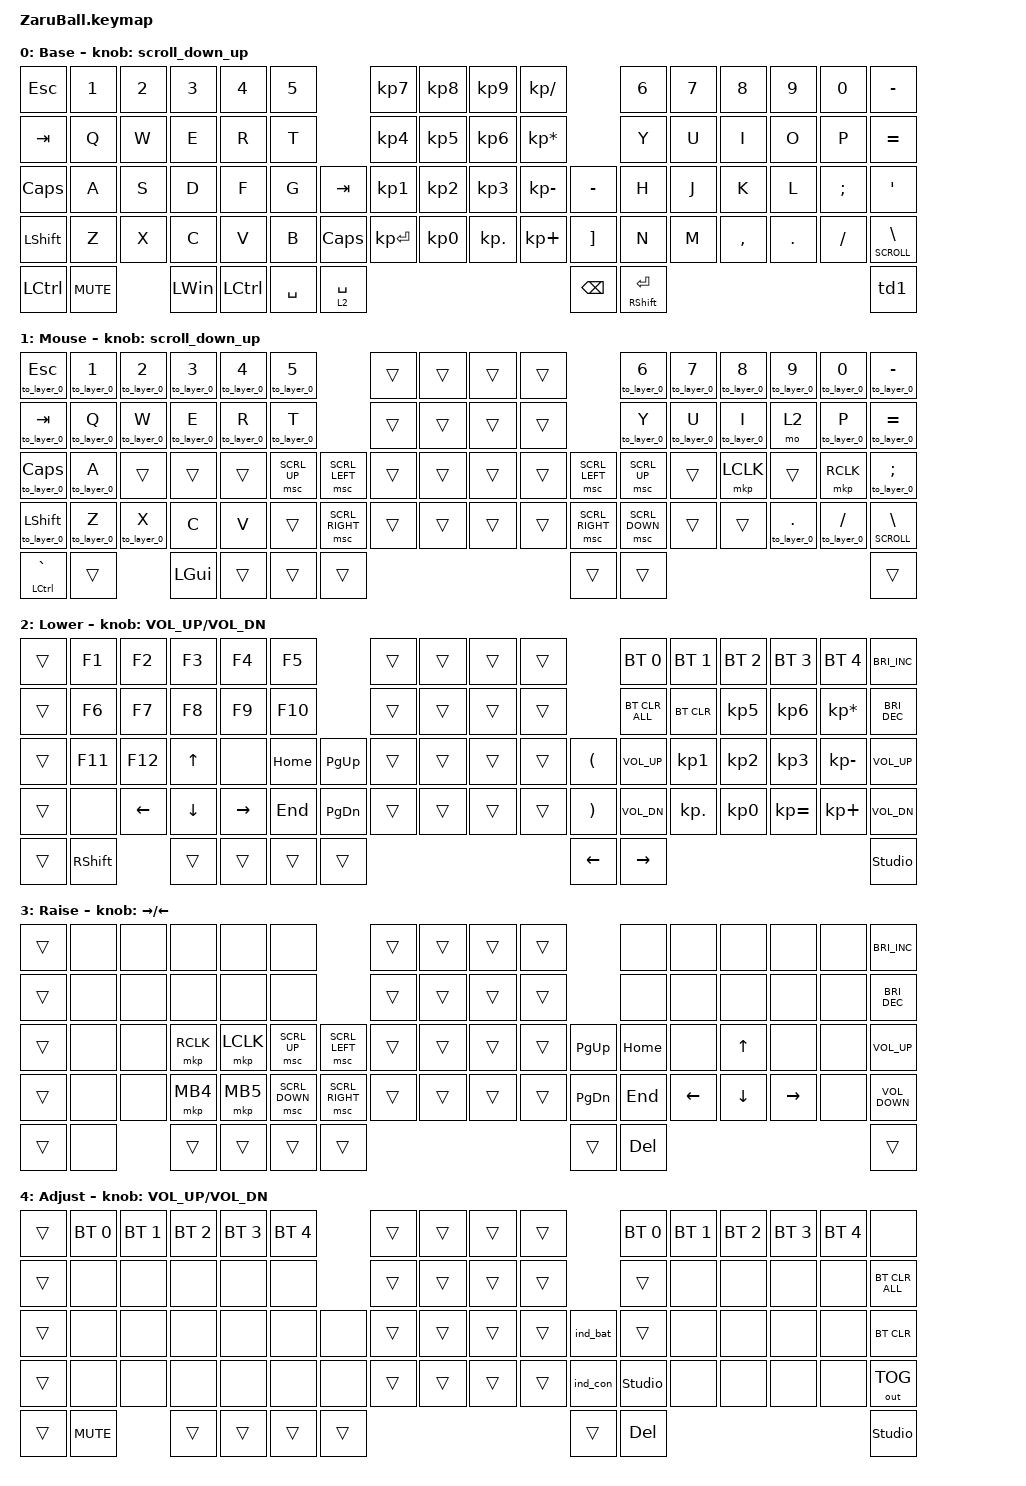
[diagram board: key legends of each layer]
//#include <dt-bindings/zmk/mouse.h>

#include <behaviors/rgbled_widget.dtsi>
#include <behaviors/naginata.dtsi>
#include <behaviors.dtsi>
#include <dt-bindings/zmk/bt.h>
#include <dt-bindings/zmk/keys.h>
#include <dt-bindings/zmk/outputs.h>
#include <dt-bindings/zmk/pointing.h>

#define BASE     0
#define MOUSE    1
#define LOWER    2
#define RAISE    3
#define ADJUST   4
#define SCROLL   2

// スクロール量の設定

#define ZMK_POINTING_DEFAULT_SCRL_VAL 100

/ {
    conditional_layers {
        compatible = "zmk,conditional-layers";

        tri_layer {
            if-layers = <2 3>;
            then-layer = <4>;
        };
    };
};

/ {
    behaviors {
        // スクロール用のbehaviorの設定

        scroll_down_up: behavior_sensor_rotate_mouse_wheel_down_up {
            compatible = "zmk,behavior-sensor-rotate";
            #sensor-binding-cells = <0>;
            bindings = <&msc SCRL_DOWN>, <&msc SCRL_UP>;

            tap-ms = <20>; // スクロールのタップ時間
        };

        td0: tap_dance_0 {
            compatible = "zmk,behavior-tap-dance";
            #binding-cells = <0>;
            tapping-term-ms = <200>;
            bindings = <&mt LALT LANG2>, <&mo RAISE>, <&mo MOUSE>;
        };

        td1: tap_dance_1 {
            compatible = "zmk,behavior-tap-dance";
            #binding-cells = <0>;
            tapping-term-ms = <200>;
            bindings = <&mt RCTL LANG1>, <&mo RAISE>, <&mo MOUSE>;
        };

        // Customed Hold-Tap for SandS

        SandS: SandS {
            compatible = "zmk,behavior-hold-tap";
            #binding-cells = <2>;
            flavor = "tap-unless-interrupted";
            tapping-term-ms = <500>;
            quick-tap-ms = <500>;
            bindings = <&kp>, <&kp>;

            display-name = "SandS";
        };
    };
};

&sl { release-after-ms = <250>; }; // time needed for double click (for mkp_exit_AML)
/ {
    macros {
        // When in AML, move to default layer when key (except mouse button) pressed

        to_layer_0: to_layer_0 {
            compatible = "zmk,behavior-macro-one-param";
            #binding-cells = <1>;
            bindings = <&tog MOUSE &macro_param_1to1 &kp MACRO_PLACEHOLDER>;
            label = "TO_layer_0";
        };

        // When LCLK pressed, exit AML (after 250ms cause by sticky layer

        mkp_exit_AML: mkp_exit_AML {
            compatible = "zmk,behavior-macro-one-param";
            #binding-cells = <1>;
            bindings =
                <&macro_press>,
                <&macro_param_1to1 &mkp MACRO_PLACEHOLDER>,
                <&macro_pause_for_release>,
                <&macro_release>,
                <&macro_param_1to1 &mkp MACRO_PLACEHOLDER>,
                <&macro_tap>,
                <&sl MOUSE>;

            label = "MKP_EXIT_AML";
        };
    };
};

/ {
    keymap {
        compatible = "zmk,keymap";

        base_layer {
            display-name = "Base";
            sensor-bindings = <&scroll_down_up>;
            bindings = <
&kp ESC           &kp N1      &kp N2  &kp N3    &kp N4     &kp N5                    &kp KP_N7     &kp KP_N8  &kp KP_N9   &kp KP_DIVIDE                 &kp NUMBER_6              &kp N7  &kp N8     &kp N9   &kp N0    &kp MINUS
&kp TAB           &kp Q       &kp W   &kp E     &kp R      &kp T                     &kp KP_N4     &kp KP_N5  &kp KP_N6   &kp KP_MULTIPLY               &kp Y                     &kp U   &kp I      &kp O    &kp P     &kp EQUAL
&kp CAPS          &kp A       &kp S   &kp D     &kp F      &kp G      &kp TAB        &kp KP_N1     &kp KP_N2  &kp KP_N3   &kp KP_MINUS       &kp MINUS  &kp H                     &kp J   &kp K      &kp L    &kp SEMI  &kp SQT
&kp LSHFT         &kp Z       &kp X   &kp C     &kp V      &kp B      &kp CAPS       &kp KP_ENTER  &kp KP_N0  &kp KP_DOT  &kp KP_PLUS        &kp RBKT   &kp N                     &kp M   &kp COMMA  &kp DOT  &kp FSLH  &lt SCROLL BACKSLASH
&kp LEFT_CONTROL  &kp C_MUTE          &kp LWIN  &kp LCTRL  &kp SPACE  &lt 2 SPACE                                                            &kp BSPC   &SandS RIGHT_SHIFT ENTER                                        &td1
            >;
        };

        mouse_layer {
            display-name = "Mouse";
            sensor-bindings = <&scroll_down_up>;
            bindings = <
&to_layer_0 ESC            &to_layer_0 N1  &to_layer_0 N2  &to_layer_0 N3  &to_layer_0 N4  &to_layer_0 N5                     &trans  &trans  &trans  &trans                     &to_layer_0 N6  &to_layer_0 N7  &to_layer_0 N8  &to_layer_0 N9      &to_layer_0 N0     &to_layer_0 MINUS
&to_layer_0 TAB            &to_layer_0 Q   &to_layer_0 W   &to_layer_0 E   &to_layer_0 R   &to_layer_0 T                      &trans  &trans  &trans  &trans                     &to_layer_0 Y   &to_layer_0 U   &to_layer_0 I   &mo 2               &to_layer_0 P      &to_layer_0 EQUAL
&to_layer_0 CAPS           &to_layer_0 A   &trans          &trans          &trans          &msc SCRL_UP    &msc SCRL_LEFT     &trans  &trans  &trans  &trans    &msc SCRL_LEFT   &msc SCRL_UP    &trans          &mkp LCLK       &trans              &mkp RCLK          &to_layer_0 SEMICOLON
&to_layer_0 LSHIFT         &to_layer_0 Z   &to_layer_0 X   &kp C           &kp V           &trans          &msc SCRL_RIGHT    &trans  &trans  &trans  &trans    &msc SCRL_RIGHT  &msc SCRL_DOWN  &trans          &trans          &to_layer_0 PERIOD  &to_layer_0 SLASH  &lt SCROLL BACKSLASH
&SandS LEFT_CONTROL GRAVE  &trans                          &kp LEFT_GUI    &trans          &trans          &trans                                               &trans           &trans                                                                                 &trans
            >;
        };

        lower_layer {
            display-name = "Lower";
            sensor-bindings = <&inc_dec_kp C_VOL_UP C_VOL_DN>;
            bindings = <
&trans  &kp F1     &kp F2    &kp F3    &kp F4     &kp F5                 &trans  &trans  &trans  &trans                    &bt BT_SEL 0     &bt BT_SEL 1  &bt BT_SEL 2  &bt BT_SEL 3  &bt BT_SEL 4     &kp C_BRIGHTNESS_INC
&trans  &kp F6     &kp F7    &kp F8    &kp F9     &kp F10                &trans  &trans  &trans  &trans                    &bt BT_CLR_ALL   &bt BT_CLR    &kp KP_N5     &kp KP_N6     &kp KP_MULTIPLY  &kp C_BRIGHTNESS_DEC
&trans  &kp F11    &kp F12   &kp UP    &none      &kp HOME  &kp PG_UP    &trans  &trans  &trans  &trans    &kp LPAR        &kp C_VOL_UP     &kp KP_N1     &kp KP_N2     &kp KP_N3     &kp KP_MINUS     &kp C_VOLUME_UP
&trans  &none      &kp LEFT  &kp DOWN  &kp RIGHT  &kp END   &kp PG_DN    &trans  &trans  &trans  &trans    &kp RPAR        &kp C_VOL_DN     &kp KP_DOT    &kp KP_N0     &kp KP_EQUAL  &kp KP_PLUS      &kp C_VOL_DN
&trans  &kp RSHFT            &trans    &trans     &trans    &trans                                         &kp LEFT_ARROW  &kp RIGHT_ARROW                                                             &studio_unlock
            >;
        };

        raise_layer {
            display-name = "Raise";
            sensor-bindings = <&inc_dec_kp RIGHT LEFT>;
            bindings = <
&trans  &none  &none  &none      &none      &none                              &trans  &trans  &trans  &trans               &none     &none     &none     &none      &none  &kp C_BRIGHTNESS_INC
&trans  &none  &none  &none      &none      &none                              &trans  &trans  &trans  &trans               &none     &none     &none     &none      &none  &kp C_BRIGHTNESS_DEC
&trans  &none  &none  &mkp RCLK  &mkp LCLK  &msc SCRL_UP    &msc SCRL_LEFT     &trans  &trans  &trans  &trans    &kp PG_UP  &kp HOME  &none     &kp UP    &none      &none  &kp C_VOLUME_UP
&trans  &none  &none  &mkp MB4   &mkp MB5   &msc SCRL_DOWN  &msc SCRL_RIGHT    &trans  &trans  &trans  &trans    &kp PG_DN  &kp END   &kp LEFT  &kp DOWN  &kp RIGHT  &none  &kp C_VOLUME_DOWN
&trans  &none         &trans     &trans     &trans          &trans                                               &trans     &kp DEL                                         &trans
            >;
        };

        adjust_layer {
            display-name = "Adjust";
            sensor-bindings = <&inc_dec_kp C_VOL_UP C_VOL_DN>;
            bindings = <
&trans  &bt BT_SEL 0  &bt BT_SEL 1  &bt BT_SEL 2  &bt BT_SEL 3  &bt BT_SEL 4            &trans  &trans  &trans  &trans              &bt BT_SEL 0    &bt BT_SEL 1  &bt BT_SEL 2  &bt BT_SEL 3  &bt BT_SEL 4  &none
&trans  &none         &none         &none         &none         &none                   &trans  &trans  &trans  &trans              &trans          &none         &none         &none         &none         &bt BT_CLR_ALL
&trans  &none         &none         &none         &none         &none         &none     &trans  &trans  &trans  &trans    &ind_bat  &trans          &none         &none         &none         &none         &bt BT_CLR
&trans  &none         &none         &none         &none         &none         &none     &trans  &trans  &trans  &trans    &ind_con  &studio_unlock  &none         &none         &none         &none         &out OUT_TOG
&trans  &kp C_MUTE                  &trans        &trans        &trans        &trans                                      &trans    &kp DEL                                                                 &studio_unlock
            >;
        };

        // Extra layer can be added in ZMK STUDIO

        extra1 { status = "reserved"; };

        extra2 { status = "reserved"; };
    };
};
